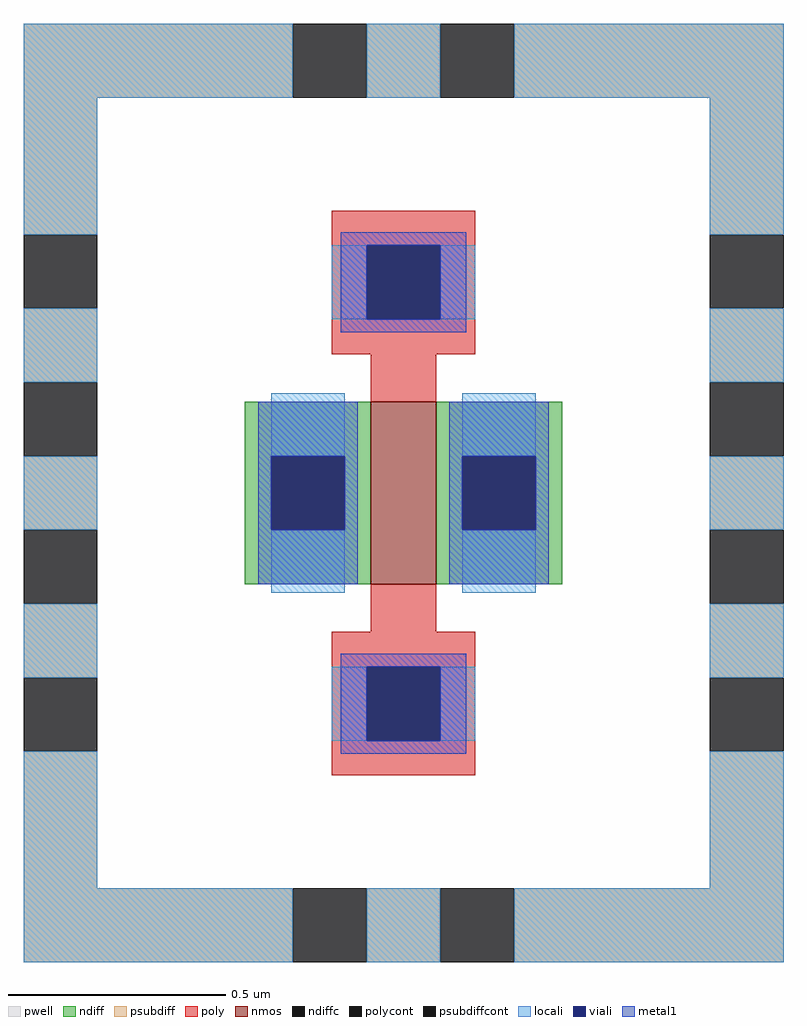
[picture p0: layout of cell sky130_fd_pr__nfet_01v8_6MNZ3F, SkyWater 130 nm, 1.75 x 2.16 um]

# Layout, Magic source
magic
tech sky130A
magscale 1 2
<< pwell >>
rect -175 182 175 216
rect -175 -182 -141 182
rect 141 -182 175 182
rect -175 -216 175 -182
<< nmos >>
rect -15 -42 15 42
<< ndiff >>
rect -73 17 -15 42
rect -73 -17 -61 17
rect -27 -17 -15 17
rect -73 -42 -15 -17
rect 15 17 73 42
rect 15 -17 27 17
rect 61 -17 73 17
rect 15 -42 73 -17
<< ndiffc >>
rect -61 -17 -27 17
rect 27 -17 61 17
<< psubdiff >>
rect -175 182 -51 216
rect -17 182 17 216
rect 51 182 175 216
rect -175 119 -141 182
rect -175 51 -141 85
rect 141 119 175 182
rect 141 51 175 85
rect -175 -17 -141 17
rect 141 -17 175 17
rect -175 -85 -141 -51
rect -175 -182 -141 -119
rect 141 -85 175 -51
rect 141 -182 175 -119
rect -175 -216 -51 -182
rect -17 -216 17 -182
rect 51 -216 175 -182
<< psubdiffcont >>
rect -51 182 -17 216
rect 17 182 51 216
rect -175 85 -141 119
rect 141 85 175 119
rect -175 17 -141 51
rect -175 -51 -141 -17
rect 141 17 175 51
rect 141 -51 175 -17
rect -175 -119 -141 -85
rect 141 -119 175 -85
rect -51 -216 -17 -182
rect 17 -216 51 -182
<< poly >>
rect -33 114 33 130
rect -33 80 -17 114
rect 17 80 33 114
rect -33 64 33 80
rect -15 42 15 64
rect -15 -64 15 -42
rect -33 -80 33 -64
rect -33 -114 -17 -80
rect 17 -114 33 -80
rect -33 -130 33 -114
<< polycont >>
rect -17 80 17 114
rect -17 -114 17 -80
<< locali >>
rect -175 182 -51 216
rect -17 182 17 216
rect 51 182 175 216
rect -175 119 -141 182
rect 141 119 175 182
rect -175 51 -141 85
rect -33 80 -17 114
rect 17 80 33 114
rect 141 51 175 85
rect -175 -17 -141 17
rect -61 17 -27 46
rect -61 -46 -27 -17
rect 27 17 61 46
rect 27 -46 61 -17
rect 141 -17 175 17
rect -175 -85 -141 -51
rect -33 -114 -17 -80
rect 17 -114 33 -80
rect 141 -85 175 -51
rect -175 -182 -141 -119
rect 141 -182 175 -119
rect -175 -216 -51 -182
rect -17 -216 17 -182
rect 51 -216 175 -182
<< viali >>
rect -17 80 17 114
rect -61 -17 -27 17
rect 27 -17 61 17
rect -17 -114 17 -80
<< metal1 >>
rect -29 114 29 120
rect -29 80 -17 114
rect 17 80 29 114
rect -29 74 29 80
rect -67 17 -21 42
rect -67 -17 -61 17
rect -27 -17 -21 17
rect -67 -42 -21 -17
rect 21 17 67 42
rect 21 -17 27 17
rect 61 -17 67 17
rect 21 -42 67 -17
rect -29 -80 29 -74
rect -29 -114 -17 -80
rect 17 -114 29 -80
rect -29 -120 29 -114
<< properties >>
string FIXED_BBOX -158 -199 158 199
<< end >>
